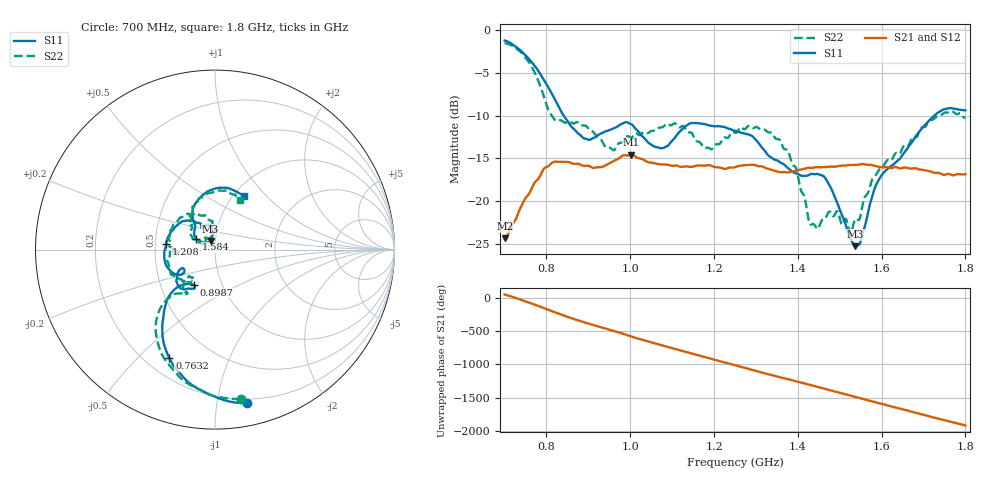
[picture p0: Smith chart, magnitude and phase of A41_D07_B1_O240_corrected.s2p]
! Created with skrf 1.9.0 (http://scikit-rf.org).
# Hz S RI R 50.0
!freq ReS11 ImS11 ReS21 ImS21 ReS12 ImS12 ReS22 ImS22
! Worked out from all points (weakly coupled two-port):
!   1601 points, 700 MHz to 1.8 GHz, reference 50 ohm
!   highest |S21| = -14.58 dB at 1.002 GHz (marker M1); lowest = -24.4 dB at 700.7 MHz (marker M2)
!   lowest |S11| = -25.3 dB at 1.537 GHz (marker M3), VSWR 1.11, Z = 47.4 + j4.59 ohm
!   |S11| at or under -10 dB: 841 MHz to 1.725 GHz (884.5 MHz wide, 68.9 % of centre)
!   |S22| runs from -23.8 to -1.5 dB; largest |S21 - S12| = 0.0035
!   S11 on the Smith chart (normalised r, x): 700 MHz: 0.17, -1.21; 763.2 MHz: 0.29, -0.62; 898.7 MHz: 0.73, -0.30; 1.208 GHz: 0.57, +0.04; 1.584 GHz: 0.81, +0.10; 1.8 GHz: 1.12, +0.75
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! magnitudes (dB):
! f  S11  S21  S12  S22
! 700 MHz  -1.2  -24.4  -24.2  -1.5
! 700.7 MHz  -1.2  -24.4  -24.1  -1.5
! 763.2 MHz  -3.7  -18.7  -18.7  -4.1
! 817.6 MHz  -7.8  -15.4  -15.5  -10.4
! 883.6 MHz  -12.4  -15.8  -15.7  -11.1
! 898.7 MHz  -12.8  -15.9  -15.9  -11.4
! 958.5 MHz  -11.5  -15.4  -15.4  -14.0
! 1.002 GHz  -11.0  -14.6  -14.7  -12.6
! 1.067 GHz  -13.7  -15.7  -15.6  -11.5
! 1.143 GHz  -10.9  -16.0  -16.0  -12.0
! 1.208 GHz  -11.2  -16.0  -16.1  -13.3
! 1.25 GHz  -11.8  -16.0  -16.0  -12.0
! 1.357 GHz  -15.4  -16.6  -16.6  -12.8
! 1.396 GHz  -16.8  -16.5  -16.4  -16.2
! 1.434 GHz  -16.8  -16.1  -16.1  -22.7
! 1.471 GHz  -17.7  -16.0  -16.0  -21.6
! 1.526 GHz  -24.4  -15.8  -15.8  -23.8
! 1.537 GHz  -25.3  -15.8  -15.8  -22.1
! 1.584 GHz  -18.4  -15.9  -15.9  -17.0
! 1.617 GHz  -16.1  -16.1  -16.0  -15.2
! 1.732 GHz  -9.7  -16.7  -16.7  -10.1
! 1.8 GHz  -9.4  -16.9  -16.9  -10.2
